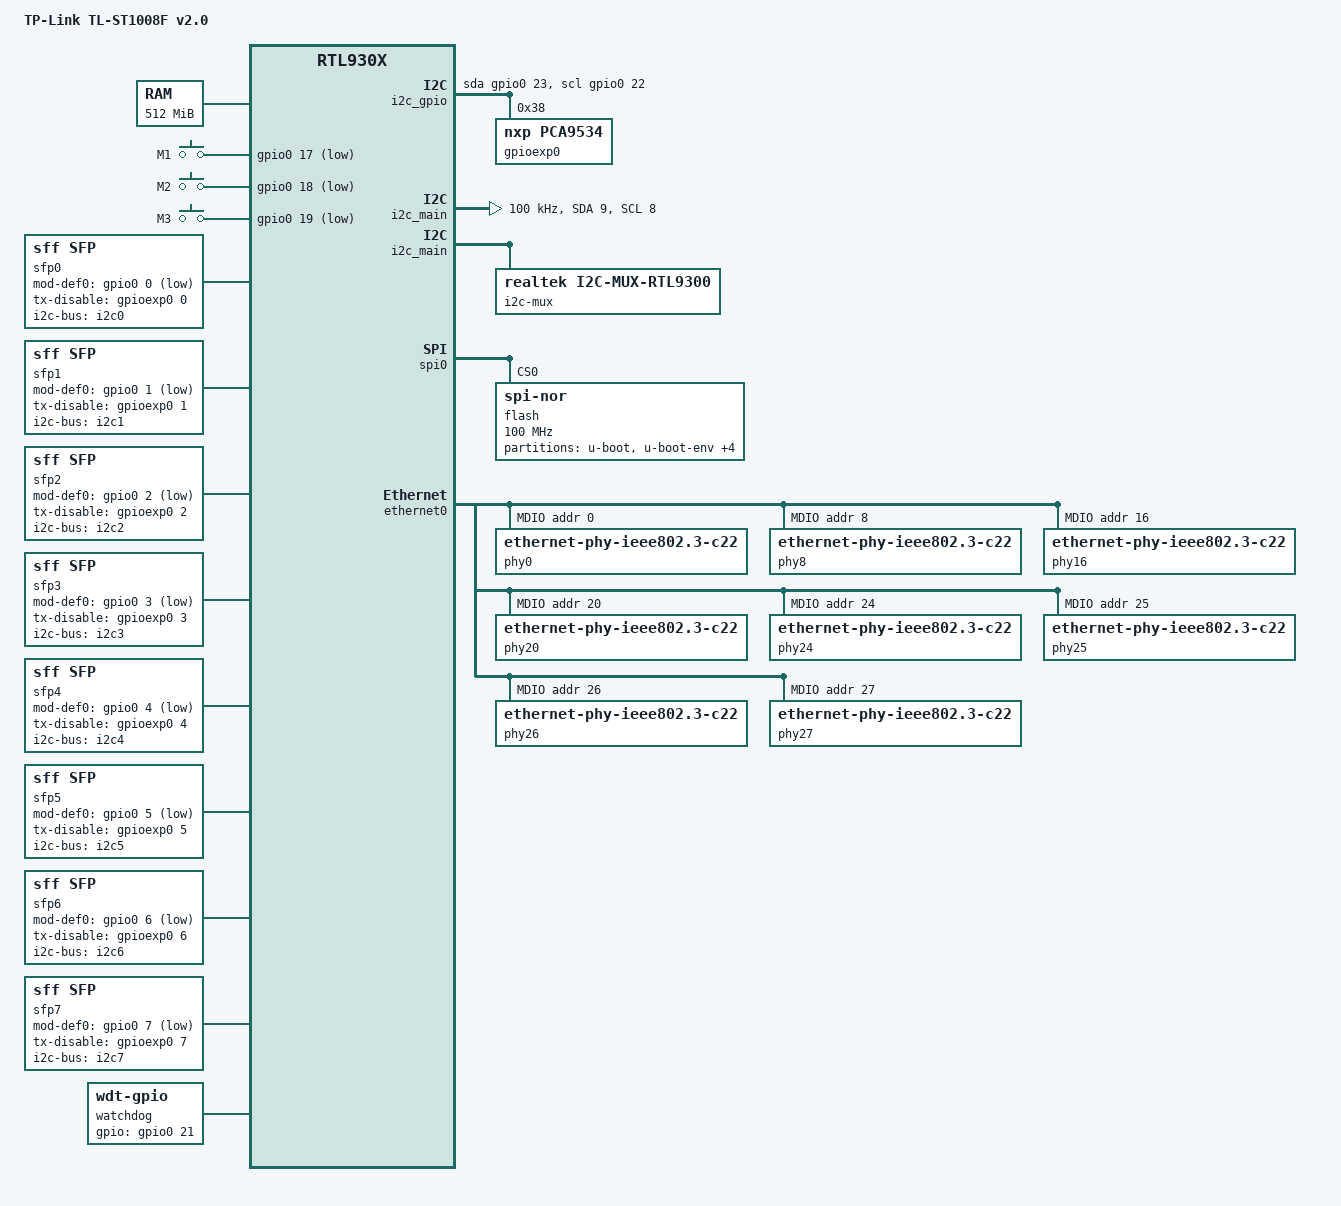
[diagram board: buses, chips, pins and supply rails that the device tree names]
// SPDX-License-Identifier: GPL-2.0-or-later

#include "rtl930x.dtsi"

#include <dt-bindings/input/input.h>
#include <dt-bindings/gpio/gpio.h>
#include <dt-bindings/leds/common.h>

/ {
	compatible = "tplink,tl-st1008f,v2", "realtek,rtl930x-soc";
	model = "TP-Link TL-ST1008F v2.0";

	memory@0 {
		device_type = "memory";
		reg = <0x00000000 0x10000000>, /* first 256 MiB */
		      <0x20000000 0x10000000>; /* remaining 256 MiB */
	};

	chosen {
		stdout-path = "serial0:115200n8";
	};

	keys {
		compatible = "gpio-keys";

		m1 {
			label = "M1";
			gpios = <&gpio0 17 GPIO_ACTIVE_LOW>;
			debounce-interval = <50>;
			linux,code = <BTN_0>;
			linux,input-type = <EV_SW>;
		};

		m2 {
			label = "M2";
			gpios = <&gpio0 18 GPIO_ACTIVE_LOW>;
			debounce-interval = <50>;
			linux,code = <BTN_1>;
			linux,input-type = <EV_SW>;
		};

		m3 {
			label = "M3";
			gpios = <&gpio0 19 GPIO_ACTIVE_LOW>;
			debounce-interval = <50>;
			linux,code = <BTN_2>;
			linux,input-type = <EV_SW>;
		};
	};

	led_set {
		compatible = "realtek,rtl9300-leds";
		active-high;

		led_set0 = <0x0ba0 0x0a08 0x0a01>;
	};

	i2c_gpio {
		compatible = "i2c-gpio";
		#address-cells = <1>;
		#size-cells = <0>;
		i2c-gpio,delay-us = <2>;
		scl-gpios = <&gpio0 22 (GPIO_ACTIVE_HIGH | GPIO_OPEN_DRAIN)>;
		sda-gpios = <&gpio0 23 (GPIO_ACTIVE_HIGH | GPIO_OPEN_DRAIN)>;

		gpioexp0: i2c@38 {
			reg = <0x38>;
			compatible = "nxp,pca9534";
			gpio-controller;
			#gpio-cells = <2>;
		};
	};

	i2c_main: i2c@1b00036c {
		compatible = "realtek,rtl9300-i2c";
		reg = <0x1b00036c 0x3c>;
		#address-cells = <1>;
		#size-cells = <0>;
		scl-pin = <8>;
		sda-pin = <9>;
		clock-frequency = <100000>;
	};

	i2c-mux {
		compatible = "realtek,i2c-mux-rtl9300";
		i2c-parent = <&i2c_main>;
		#address-cells = <1>;
		#size-cells = <0>;

		i2c0: i2c@0 {
			reg = <0>;
			scl-pin = <8>;
			sda-pin = <9>;
		};

		i2c1: i2c@1 {
			reg = <1>;
			scl-pin = <8>;
			sda-pin = <10>;
		};

		i2c2: i2c@2 {
			reg = <2>;
			scl-pin = <8>;
			sda-pin = <11>;
		};

		i2c3: i2c@3 {
			reg = <3>;
			scl-pin = <8>;
			sda-pin = <12>;
		};

		i2c4: i2c@4 {
			reg = <4>;
			scl-pin = <8>;
			sda-pin = <13>;
		};

		i2c5: i2c@5 {
			reg = <5>;
			scl-pin = <8>;
			sda-pin = <14>;
		};

		i2c6: i2c@6 {
			reg = <6>;
			scl-pin = <8>;
			sda-pin = <15>;
		};

		i2c7: i2c@7 {
			reg = <7>;
			scl-pin = <8>;
			sda-pin = <16>;
		};
	};

	sfp0: sfp-p1 {
		compatible = "sff,sfp";
		i2c-bus = <&i2c0>;
		mod-def0-gpio = <&gpio0 0 GPIO_ACTIVE_LOW>;
		tx-disable-gpio = <&gpioexp0 0 GPIO_ACTIVE_HIGH>;
		maximum-power-milliwatt = <2900>;
		#thermal-sensor-cells = <0>;
	};

	sfp1: sfp-p2 {
		compatible = "sff,sfp";
		i2c-bus = <&i2c1>;
		mod-def0-gpio = <&gpio0 1 GPIO_ACTIVE_LOW>;
		tx-disable-gpio = <&gpioexp0 1 GPIO_ACTIVE_HIGH>;
		maximum-power-milliwatt = <1500>;
		#thermal-sensor-cells = <0>;
	};

	sfp2: sfp-p3 {
		compatible = "sff,sfp";
		i2c-bus = <&i2c2>;
		mod-def0-gpio = <&gpio0 2 GPIO_ACTIVE_LOW>;
		tx-disable-gpio = <&gpioexp0 2 GPIO_ACTIVE_HIGH>;
		maximum-power-milliwatt = <1500>;
		#thermal-sensor-cells = <0>;
	};

	sfp3: sfp-p4 {
		compatible = "sff,sfp";
		i2c-bus = <&i2c3>;
		mod-def0-gpio = <&gpio0 3 GPIO_ACTIVE_LOW>;
		tx-disable-gpio = <&gpioexp0 3 GPIO_ACTIVE_HIGH>;
		maximum-power-milliwatt = <2000>;
		#thermal-sensor-cells = <0>;
	};

	sfp4: sfp-p5 {
		compatible = "sff,sfp";
		i2c-bus = <&i2c4>;
		mod-def0-gpio = <&gpio0 4 GPIO_ACTIVE_LOW>;
		tx-disable-gpio = <&gpioexp0 4 GPIO_ACTIVE_HIGH>;
		maximum-power-milliwatt = <2000>;
		#thermal-sensor-cells = <0>;
	};

	sfp5: sfp-p6 {
		compatible = "sff,sfp";
		i2c-bus = <&i2c5>;
		mod-def0-gpio = <&gpio0 5 GPIO_ACTIVE_LOW>;
		tx-disable-gpio = <&gpioexp0 5 GPIO_ACTIVE_HIGH>;
		maximum-power-milliwatt = <1500>;
		#thermal-sensor-cells = <0>;
	};

	sfp6: sfp-p7 {
		compatible = "sff,sfp";
		i2c-bus = <&i2c6>;
		mod-def0-gpio = <&gpio0 6 GPIO_ACTIVE_LOW>;
		tx-disable-gpio = <&gpioexp0 6 GPIO_ACTIVE_HIGH>;
		maximum-power-milliwatt = <1500>;
		#thermal-sensor-cells = <0>;
	};

	sfp7: sfp-p8 {
		compatible = "sff,sfp";
		i2c-bus = <&i2c7>;
		mod-def0-gpio = <&gpio0 7 GPIO_ACTIVE_LOW>;
		tx-disable-gpio = <&gpioexp0 7 GPIO_ACTIVE_HIGH>;
		maximum-power-milliwatt = <2900>;
		#thermal-sensor-cells = <0>;
	};

	watchdog {
		compatible = "linux,wdt-gpio";
		gpios = <&gpio0 21 GPIO_ACTIVE_HIGH>;
		hw_algo = "toggle";
		hw_margin_ms = <1200>;
		always-running;
	};
};

&spi0 {
	status = "okay";

	flash@0 {
		compatible = "jedec,spi-nor";
		reg = <0>;
		spi-max-frequency = <100000000>;

		partitions {
			compatible = "fixed-partitions";
			#address-cells = <1>;
			#size-cells = <1>;

			partition@0 {
				label = "u-boot";
				reg = <0x0 0xe0000>;
				read-only;
			};

			partition@e0000 {
				label = "u-boot-env";
				reg = <0xe0000 0x10000>;
			};

			partition@f0000 {
				label = "u-boot-env2";
				reg = <0xf0000 0x10000>;
				read-only;
			};

			partition@100000 {
				label = "jffs2-cfg";
				reg = <0x100000 0x100000>;
			};

			partition@200000 {
				label = "jffs2-log";
				reg = <0x200000 0x100000>;
			};

			partition@300000 {
				compatible = "openwrt,uimage", "denx,uimage";
				reg = <0x300000 0x1d00000>;
				label = "firmware";
				openwrt,ih-magic = <0x93030000>;
			};
		};
	};
};

&ethernet0 {
	mdio: mdio-bus {
		compatible = "realtek,rtl838x-mdio";
		regmap = <&ethernet0>;
		#address-cells = <1>;
		#size-cells = <0>;

		phy0: ethernet-phy@0 {
			compatible = "ethernet-phy-ieee802.3-c22";
			phy-is-integrated;
			reg = <0>;
			sds = <2>;
		};

		phy8: ethernet-phy@8 {
			compatible = "ethernet-phy-ieee802.3-c22";
			phy-is-integrated;
			reg = <8>;
			sds = <3>;
		};

		phy16: ethernet-phy@10 {
			compatible = "ethernet-phy-ieee802.3-c22";
			phy-is-integrated;
			reg = <16>;
			sds = <4>;
		};

		phy20: ethernet-phy@14 {
			compatible = "ethernet-phy-ieee802.3-c22";
			phy-is-integrated;
			reg = <20>;
			sds = <5>;
		};

		phy24: ethernet-phy@18 {
			compatible = "ethernet-phy-ieee802.3-c22";
			phy-is-integrated;
			reg = <24>;
			sds = <6>;
		};

		phy25: ethernet-phy@19 {
			compatible = "ethernet-phy-ieee802.3-c22";
			phy-is-integrated;
			reg = <25>;
			sds = <7>;
		};

		phy26: ethernet-phy@1a {
			compatible = "ethernet-phy-ieee802.3-c22";
			phy-is-integrated;
			reg = <26>;
			sds = <8>;
		};

		phy27: ethernet-phy@1b {
			compatible = "ethernet-phy-ieee802.3-c22";
			phy-is-integrated;
			reg = <27>;
			sds = <9>;
		};
	};
};

&switch0 {
	ports {
		#address-cells = <1>;
		#size-cells = <0>;

		port@0 {
			reg = <0>;
			label = "lan1";
			phy-mode = "10gbase-r";
			pseudo-phy-handle = <&phy0>;
			sfp = <&sfp0>;
			managed = "in-band-status";
			led-set = <0>;
		};

		port@8 {
			reg = <8>;
			label = "lan2";
			phy-mode = "10gbase-r";
			pseudo-phy-handle = <&phy8>;
			sfp = <&sfp1>;
			managed = "in-band-status";
			led-set = <0>;
		};

		port@10 {
			reg = <16>;
			label = "lan3";
			phy-mode = "10gbase-r";
			pseudo-phy-handle = <&phy16>;
			sfp = <&sfp2>;
			managed = "in-band-status";
			led-set = <0>;
		};

		port@14 {
			reg = <20>;
			label = "lan4";
			phy-mode = "10gbase-r";
			pseudo-phy-handle = <&phy20>;
			sfp = <&sfp3>;
			managed = "in-band-status";
			led-set = <0>;
		};

		port@18 {
			reg = <24>;
			label = "lan5";
			phy-mode = "10gbase-r";
			pseudo-phy-handle = <&phy24>;
			sfp = <&sfp4>;
			managed = "in-band-status";
			led-set = <0>;
		};

		port@19 {
			reg = <25>;
			label = "lan6";
			phy-mode = "10gbase-r";
			pseudo-phy-handle = <&phy25>;
			sfp = <&sfp5>;
			managed = "in-band-status";
			led-set = <0>;
		};

		port@1a {
			reg = <26>;
			label = "lan7";
			phy-mode = "10gbase-r";
			pseudo-phy-handle = <&phy26>;
			sfp = <&sfp6>;
			managed = "in-band-status";
			led-set = <0>;
		};

		port@1b {
			reg = <27>;
			label = "lan8";
			phy-mode = "10gbase-r";
			pseudo-phy-handle = <&phy27>;
			sfp = <&sfp7>;
			managed = "in-band-status";
			led-set = <0>;
		};

		port@1c {
			ethernet = <&ethernet0>;
			reg = <28>;
			phy-mode = "internal";

			fixed-link {
				speed = <10000>;
				full-duplex;
			};
		};
	};
};

&thermal_zones {
	sfp-thermal {
		polling-delay-passive = <10000>;
		polling-delay = <10000>;
		thermal-sensors = <&sfp0>, <&sfp1>, <&sfp2>, <&sfp3>, <&sfp4>, <&sfp5>, <&sfp6>, <&sfp7>;
		trips {
			sfp-crit {
				temperature = <110000>;
				hysteresis = <1000>;
				type = "critical";
			};
		};
	};
};
